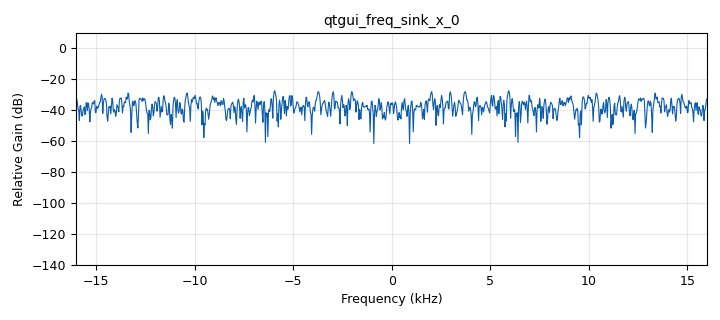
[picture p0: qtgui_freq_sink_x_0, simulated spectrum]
options:
  parameters:
    generate_options: qt_gui
    id: UART_Receiver
    output_language: python
    title: UART_Receiver
  states: {}

blocks:
- name: samp_rate
  id: variable
  parameters:
    value: '32000'
  states: {}
- name: analog_noise_source_x_0
  id: analog_noise_source_x
  parameters:
    amp: '1'
    noise_type: analog.GR_GAUSSIAN
    seed: '0'
    type: float
  states: {}
- name: qtgui_freq_sink_x_0
  id: qtgui_freq_sink_x
  parameters:
    bw: samp_rate
    fc: '0'
    fftsize: '1024'
    type: float
    wintype: firdes.WIN_BLACKMAN_hARRIS
  states: {}

connections:
- [analog_noise_source_x_0, '0', qtgui_freq_sink_x_0, '0']

metadata:
  file_format: 1
